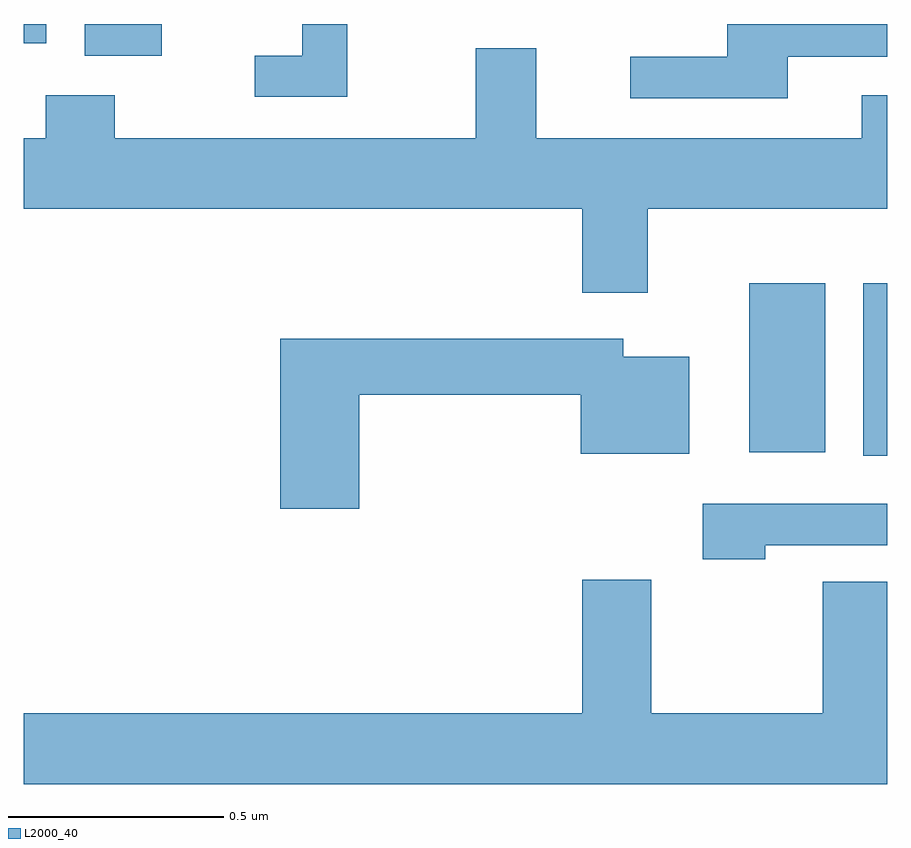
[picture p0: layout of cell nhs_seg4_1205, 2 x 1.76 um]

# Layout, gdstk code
import gdstk
lib = gdstk.Library(unit=1e-6, precision=1e-09)
def R(c, l, rs):  # rectangles x0, y0, x1, y1
    for r in rs: c.add(gdstk.rectangle(r[:2], r[2:], *l))
def P(c, l, *ps):  # polygons
    for p in ps: c.add(gdstk.Polygon(p, *l))
L2000_40 = (2000, 40)

nhs_seg4_1205 = lib.new_cell('nhs_seg4_1205')
R(nhs_seg4_1205, L2000_40, [(126.944,810.9,127,811.3), (126.68,810.908,126.856,811.3), (125.141,811.826,125.32,811.9), (125,811.855,125.052,811.9)])
P(nhs_seg4_1205, L2000_40, [(125.749,811.9),(125.645,811.9),(125.645,811.827),(125.535,811.827),(125.535,811.731),(125.749,811.731)],
  [(126.769,811.824),(127,811.824),(127,811.9),(126.629,811.9),(126.629,811.824),(126.405,811.824),(126.405,811.728),(126.769,811.728)],
  [(126.445,811.472),(127,811.472),(127,811.735),(126.941,811.735),(126.941,811.636),(126.187,811.636),(126.187,811.844),(126.047,811.844),(126.047,811.636),(125.211,811.636),(125.211,811.735),(125.051,811.735),(125.051,811.636),(125,811.636),(125,811.472),(126.293,811.472),(126.293,811.278),(126.445,811.278)],
  [(125.777,811.042),(126.29,811.042),(126.29,810.905),(126.541,810.905),(126.541,811.129),(126.388,811.129),(126.388,811.171),(125.594,811.171),(125.594,810.777),(125.777,810.777)],
  [(126.717,810.693),(127,810.693),(127,810.789),(126.573,810.789),(126.573,810.661),(126.717,810.661)],
  [(127,810.608),(126.85,810.608),(126.85,810.304),(126.453,810.304),(126.453,810.613),(126.293,810.613),(126.293,810.304),(125,810.304),(125,810.14),(127,810.14)])

lib.write_gds('nhs_seg4_1205.gds')
